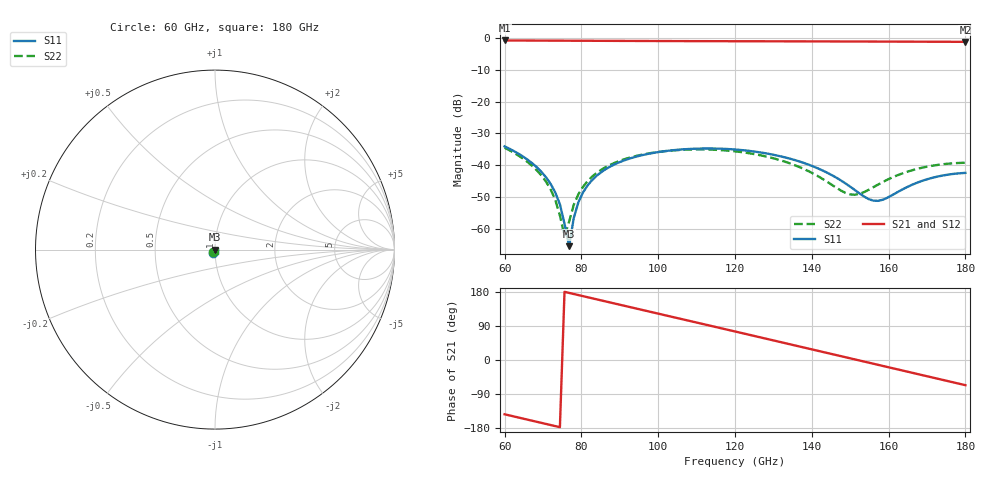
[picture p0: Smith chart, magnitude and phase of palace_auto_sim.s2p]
#  GHZ S DB R 50
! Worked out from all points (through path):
!   101 points, 60 GHz to 180 GHz, reference 50 ohm
!   highest |S21| = -0.73 dB at 60 GHz (marker M1); lowest = -1.2 dB at 180 GHz (marker M2)
!   group delay of S21, straight-line fit = 6.55 ps
!   lowest |S11| = -65.5 dB at 76.8 GHz (marker M3), VSWR 1.00, Z = 50 - j0.0433 ohm
!   |S11| at or under -10 dB: start of sweep to end of sweep
!   |S22| runs from -62.4 to -34.5 dB; largest |S21 - S12| = 1.6e-12
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60  -34.11 -122.1  -0.73 -143.3  -0.73 -143.3  -34.54 -121.2
67.2  -39.43 -137.9  -0.77 -160.3  -0.77 -160.3  -40.26 -136.1
72  -45.95 -146.2  -0.79 -171.6  -0.79 -171.6  -47.69 -141.3
74.4  -52.36 -145.5  -0.80 -177.3  -0.80 -177.3  -55.85 -129.8
75.6  -58.48 -135.4  -0.81 179.9  -0.81 179.9  -62.36 -82.9
76.8  -65.54 -55.0  -0.81 177.0  -0.81 177.0  -57.79 -18.0
78  -56.72 -6.0  -0.82 174.2  -0.82 174.2  -52.55 -3.9
79.2  -51.74 0.2  -0.82 171.4  -0.82 171.4  -49.22 -0.6
80.4  -48.64 0.8  -0.83 168.5  -0.83 168.5  -46.85 -0.4
84  -43.33 -3.8  -0.84 160.0  -0.84 160.0  -42.43 -4.7
87.6  -40.39 -10.6  -0.86 151.6  -0.86 151.6  -39.85 -11.2
100.8  -35.76 -37.9  -0.92 120.5  -0.92 120.5  -35.75 -37.5
110.4  -34.81 -58.3  -0.95 97.9  -0.95 97.9  -35.06 -57.2
120  -35.09 -79.5  -0.98 75.3  -0.98 75.3  -35.66 -77.3
130.8  -36.95 -103.3  -1.00 49.8  -1.00 49.8  -38.13 -98.7
140.4  -40.43 -121.7  -1.03 27.1  -1.03 27.1  -42.69 -110.5
147.6  -44.85 -128.2  -1.05 10.1  -1.05 10.1  -48.03 -97.0
151.2  -47.85 -123.6  -1.06 1.6  -1.06 1.6  -49.34 -72.7
156  -51.19 -97.0  -1.08 -9.7  -1.08 -9.7  -46.98 -47.1
160.8  -49.55 -65.7  -1.10 -21.1  -1.10 -21.1  -43.97 -42.2
170.4  -44.33 -62.3  -1.13 -43.8  -1.13 -43.8  -40.41 -54.8
180  -42.46 -81.3  -1.17 -66.4  -1.17 -66.4  -39.26 -76.0
